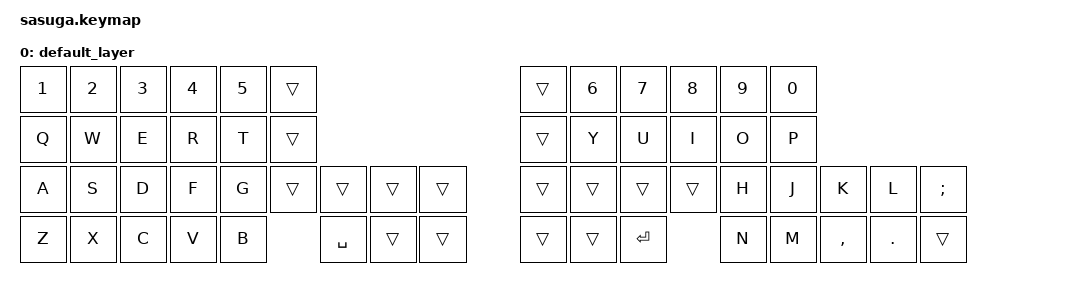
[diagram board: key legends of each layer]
#include <behaviors.dtsi>
#include <dt-bindings/zmk/keys.h>
#include <dt-bindings/zmk/bt.h>

/ {
        keymap {
                compatible = "zmk,keymap";

                default_layer {
                        bindings = <
                        &kp N1    &kp N2    &kp N3    &kp N4     &kp N5  &trans                                        &trans  &kp N6  &kp N7  &kp N8   &kp N9   &kp N0
                        &kp Q     &kp W     &kp E     &kp R      &kp T   &trans                                        &trans  &kp Y   &kp U   &kp I    &kp O    &kp P  
                        &kp A     &kp S     &kp D     &kp F      &kp G   &trans  &trans     &trans  &trans             &trans  &trans  &trans  &trans   &kp H    &kp J    &kp K      &kp L    &kp SEMI
                        &kp Z     &kp X     &kp C     &kp V      &kp B           &kp SPACE  &trans  &trans             &trans  &trans  &kp RET          &kp N    &kp M    &kp COMMA  &kp DOT  &trans
                        >;
                };
                
        };
};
